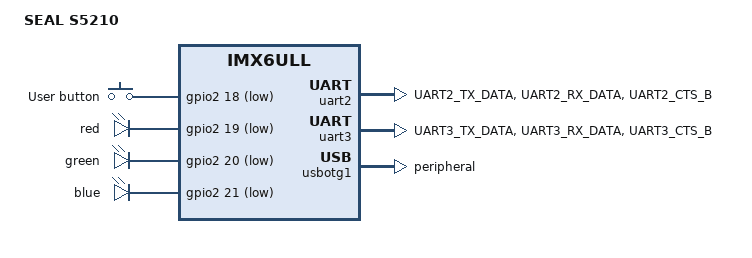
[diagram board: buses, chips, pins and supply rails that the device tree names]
// SPDX-License-Identifier: GPL-2.0+
/*
 * Copyright (C) 2020 SEAL AG
 */

/dts-v1/;

#include "seal-imx6ull-common.dtsi"

/ {
	model = "SEAL S5210";
	compatible = "seal,s5210", "fsl,imx6ull";

	gpio-keys {
		compatible = "gpio-keys";
		pinctrl-names = "default";
		pinctrl-0 = <&pinctrl_gpio_keys>;

		user-button {
			label = "User button";
			gpios = <&gpio2 18 GPIO_ACTIVE_LOW>;
			linux,code = <BTN_MISC>;
			wakeup-source;
		};
	};

	gpio-leds {
		compatible = "gpio-leds";
		pinctrl-names = "default";
		pinctrl-0 = <&pinctrl_gpio_leds>;

		red-led {
			label = "red";
			gpios = <&gpio2 19 GPIO_ACTIVE_LOW>;
			linux,default-trigger = "heartbeat";
			default-state = "off";
		};

		green-led {
			label = "green";
			gpios = <&gpio2 20 GPIO_ACTIVE_LOW>;
			linux,default-trigger = "heartbeat";
			default-state = "off";
		};

		blue-led {
			label = "blue";
			gpios = <&gpio2 21 GPIO_ACTIVE_LOW>;
			linux,default-trigger = "heartbeat";
			default-state = "off";
		};
	};
};

&iomuxc {
	pinctrl_gpio_keys: gpiokeysgrp {
		fsl,pins = <
			MX6UL_PAD_SD1_DATA0__GPIO2_IO18	0x1f080
		>;
	};

	pinctrl_gpio_leds: gpioledsgrp {
		fsl,pins = <
			MX6UL_PAD_SD1_DATA1__GPIO2_IO19	0x1f038
			MX6UL_PAD_SD1_DATA2__GPIO2_IO20	0x1f038
			MX6UL_PAD_SD1_DATA3__GPIO2_IO21	0x1f038
		>;
	};

	pinctrl_uart2: uart2grp {
		fsl,pins = <
			MX6UL_PAD_UART2_TX_DATA__UART2_DCE_TX	0x1b0b1
			MX6UL_PAD_UART2_RX_DATA__UART2_DCE_RX	0x1b0b1
			MX6UL_PAD_UART2_CTS_B__UART2_DCE_CTS	0x1b0b1
		>;
	};

	pinctrl_uart3: uart3grp {
		fsl,pins = <
			MX6UL_PAD_UART3_TX_DATA__UART3_DCE_TX	0x1b0b1
			MX6UL_PAD_UART3_RX_DATA__UART3_DCE_RX	0x1b0b1
			MX6UL_PAD_UART3_CTS_B__UART3_DCE_CTS	0x1b0b1
		>;
	};
};

&uart2 {
	pinctrl-names = "default";
	pinctrl-0 = <&pinctrl_uart2>;
	status = "okay";
	uart-has-rtscts;
	linux,rs485-enabled-at-boot-time;
};

&uart3 {
	pinctrl-names = "default";
	pinctrl-0 = <&pinctrl_uart3>;
	status = "okay";
	uart-has-rtscts;
	linux,rs485-enabled-at-boot-time;
};

&usbotg1 {
	dr_mode = "peripheral";
	status = "okay";
};
